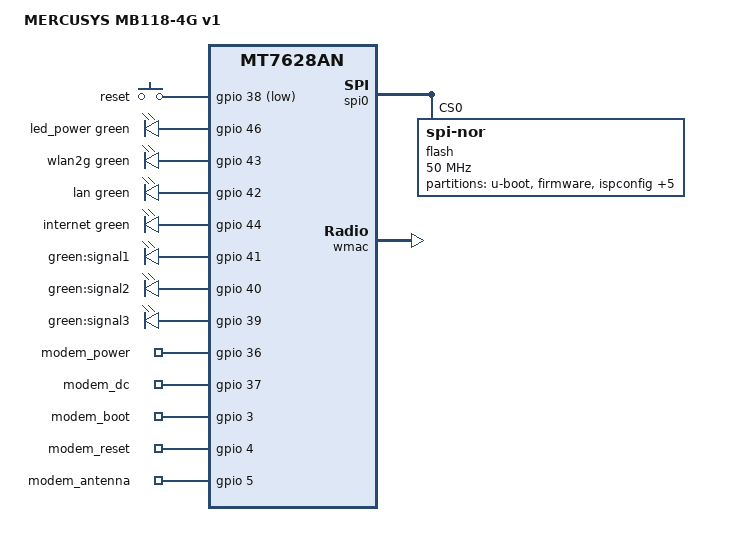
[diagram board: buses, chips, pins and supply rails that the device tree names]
// SPDX-License-Identifier: GPL-2.0-or-later OR MIT

#include "mt7628an.dtsi"

#include <dt-bindings/input/input.h>
#include <dt-bindings/gpio/gpio.h>
#include <dt-bindings/leds/common.h>

/ {
	compatible = "mercusys,mb118-4g-v1", "mediatek,mt7628an-soc";
	model = "MERCUSYS MB118-4G v1";

	aliases {
		led-boot = &led_power;
		led-failsafe = &led_power;
		led-running = &led_power;
		led-upgrade = &led_power;
		label-mac-device = &ethernet;
	};

	chosen {
		bootargs = "console=ttyS0,115200";
	};

	/*
	 * GPIO and polarity data below are taken from the stock kernel's
	 * tplink LED/GPIO driver: it polls GPIO 38 for the reset button
	 * (pressed reads low), and inverts only the LED GPIOs (46, 44, 43, 42,
	 * 41, 40, 39) so that "on" drives the pin high.
	 */
	keys {
		compatible = "gpio-keys";

		reset {
			label = "reset";
			gpios = <&gpio 38 GPIO_ACTIVE_LOW>;
			linux,code = <KEY_RESTART>;
		};
	};

	leds {
		compatible = "gpio-leds";

		led_power: power {
			function = LED_FUNCTION_POWER;
			color = <LED_COLOR_ID_GREEN>;
			gpios = <&gpio 46 GPIO_ACTIVE_HIGH>;
		};

		wlan2g {
			function = LED_FUNCTION_WLAN_2GHZ;
			color = <LED_COLOR_ID_GREEN>;
			gpios = <&gpio 43 GPIO_ACTIVE_HIGH>;
			linux,default-trigger = "phy0tpt";
		};

		lan {
			function = LED_FUNCTION_LAN;
			color = <LED_COLOR_ID_GREEN>;
			gpios = <&gpio 42 GPIO_ACTIVE_HIGH>;
		};

		internet {
			function = LED_FUNCTION_WAN_ONLINE;
			color = <LED_COLOR_ID_GREEN>;
			gpios = <&gpio 44 GPIO_ACTIVE_HIGH>;
		};

		/*
		 * Cellular signal-strength indicators, weakest (signal1) to
		 * strongest (signal3). Driven from userspace; no kernel trigger.
		 */
		signal1 {
			label = "green:signal1";
			gpios = <&gpio 41 GPIO_ACTIVE_HIGH>;
		};

		signal2 {
			label = "green:signal2";
			gpios = <&gpio 40 GPIO_ACTIVE_HIGH>;
		};

		signal3 {
			label = "green:signal3";
			gpios = <&gpio 39 GPIO_ACTIVE_HIGH>;
		};
	};

	/*
	 * Quectel EC200A-EL (ASR platform) control lines from the stock kernel's
	 * /proc/tplink handlers (usb_power, usb_dc, usb_boot, usb_reset,
	 * usb_antenna). These lines are not inverted, and the output levels
	 * below are the stock steady-state levels: power, dc and antenna high,
	 * boot and reset low. Stock only drives reset/boot high to put the
	 * modem into its firmware-download mode.
	 */
	gpio_export {
		compatible = "gpio-export";

		modem_power {
			gpio-export,name = "modem_power";
			gpio-export,output = <1>;
			gpios = <&gpio 36 GPIO_ACTIVE_HIGH>;
		};

		modem_dc {
			gpio-export,name = "modem_dc";
			gpio-export,output = <1>;
			gpios = <&gpio 37 GPIO_ACTIVE_HIGH>;
		};

		modem_boot {
			gpio-export,name = "modem_boot";
			gpio-export,output = <0>;
			gpios = <&gpio 3 GPIO_ACTIVE_HIGH>;
		};

		modem_reset {
			gpio-export,name = "modem_reset";
			gpio-export,output = <0>;
			gpios = <&gpio 4 GPIO_ACTIVE_HIGH>;
		};

		modem_antenna {
			gpio-export,name = "modem_antenna";
			gpio-export,output = <1>;
			gpios = <&gpio 5 GPIO_ACTIVE_HIGH>;
		};
	};
};

&spi0 {
	status = "okay";

	flash@0 {
		compatible = "jedec,spi-nor";
		reg = <0>;
		spi-max-frequency = <50000000>;
		m25p,fast-read;

		/*
		 * 8 MiB layout, matching a full MB118 flash dump. kernel + rootfs
		 * are merged into a single "firmware" partition. The trailing
		 * vendor partitions (ispconfig, config, configbak, romfile, radio,
		 * userdata) are read-only so OpenWrt itself cannot write per-unit
		 * MAC/calibration data; this does not constrain what the stock
		 * bootloader's recovery writes. romfile holds the base MAC at
		 * 0xf100; radio holds the MT7628 EEPROM at 0x0 (its own MAC field
		 * is the 00:0c:43 default, so it is not used).
		 */
		partitions {
			compatible = "fixed-partitions";
			#address-cells = <1>;
			#size-cells = <1>;

			partition@0 {
				label = "u-boot";
				reg = <0x0 0x20000>;
				read-only;
			};

			partition@20000 {
				compatible = "tplink,firmware";
				label = "firmware";
				reg = <0x20000 0x690000>;
			};

			partition@6b0000 {
				label = "ispconfig";
				reg = <0x6b0000 0x10000>;
				read-only;
			};

			partition@6c0000 {
				label = "config";
				reg = <0x6c0000 0x10000>;
				read-only;
			};

			partition@6d0000 {
				label = "configbak";
				reg = <0x6d0000 0x10000>;
				read-only;
			};

			partition@6e0000 {
				label = "romfile";
				reg = <0x6e0000 0x10000>;
				read-only;

				nvmem-layout {
					compatible = "fixed-layout";
					#address-cells = <1>;
					#size-cells = <1>;

					macaddr_romfile_f100: macaddr@f100 {
						compatible = "mac-base";
						reg = <0xf100 0x6>;
						#nvmem-cell-cells = <1>;
					};
				};
			};

			partition@6f0000 {
				label = "radio";
				reg = <0x6f0000 0x10000>;
				read-only;

				nvmem-layout {
					compatible = "fixed-layout";
					#address-cells = <1>;
					#size-cells = <1>;

					eeprom_radio_0: eeprom@0 {
						reg = <0x0 0x400>;
					};
				};
			};

			partition@700000 {
				label = "userdata";
				reg = <0x700000 0x100000>;
				read-only;
			};
		};
	};
};

&state_default {
	gpio {
		groups = "i2c", "i2s", "p0led_an", "p1led_an", "p2led_an", "p3led_an", "p4led_an", "perst", "refclk", "uart1", "wdt", "wled_an";
		function = "gpio";
	};
};

&wmac {
	nvmem-cells = <&eeprom_radio_0>, <&macaddr_romfile_f100 0>;
	nvmem-cell-names = "eeprom", "mac-address";
	status = "okay";
};

/*
 * The MB118-4G exposes a single Ethernet connector, wired to switch port 4
 * (the only port with traffic and link on the running stock firmware).
 */
&esw {
	mediatek,portdisable = <0x2f>;
};

&ethernet {
	nvmem-cells = <&macaddr_romfile_f100 0>;
	nvmem-cell-names = "mac-address";
};
